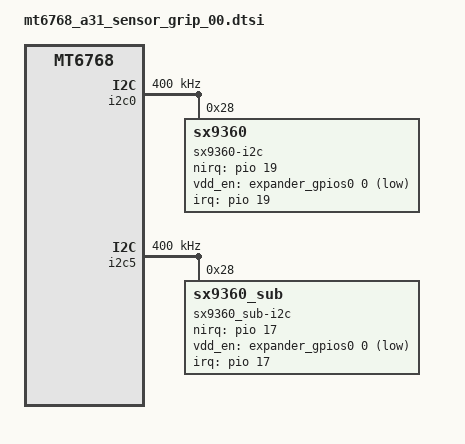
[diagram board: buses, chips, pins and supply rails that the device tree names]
/*
 * SAMSUNG board device tree source
 *
 * Copyright (c) 2019 Samsung Electronics Co., Ltd.
 *		http://www.samsung.com
 *
 * This program is free software; you can redistribute it and/or modify
 * it under the terms of the GNU General Public License version 2 as
 * published by the Free Software Foundation.
 */

&i2c0 {
	status = "okay";
	clock-frequency = <400000>;
	#address-cells = <1>;
	#size-cells = <0>;

	sx9360-i2c@28 {
		compatible = "sx9360";
		reg = <0x28>;
		status = "okay";

		pinctrl-names = "default";
		pinctrl-0 = <&grip_int>;
		interrupt-parent = <&pio>;
		interrupts = <19 0>;
		sx9360,nirq-gpio = <&pio 19 0>;

		sx9360,vdd_en = <&expander_gpios0 0 1>;
		sx9360,refresolution_reg = <0x0f>; /* same as resolution_reg */
		sx9360,refagainfreq_reg = <0x36>; /* same as againfreq_reg */
		sx9360,resolution_reg = <0x0f>; /* resolution : 1024 */
		sx9360,againfreq_reg = <0x18>; /* freq : 62.5 kHz, again : +/-2.25 pF */
		sx9360,refgainrawfilt_reg = <0x22>; /* same as gainrawfilt_reg */
		sx9360,gainrawfilt_reg = <0x22>; /* rawfilter : 1-1/4, gain : x8 */
		sx9360,hyst_reg = <0x15>; /* hysteresis : +/-6 %, debouncer : 2 samples */
		sx9360,proxthresh_reg = <0x2a>; /* threshhold : 882 */
		sx9360,hallic_detect = <1>;
		sx9360,hallic_cert_detect = <1>;
	};
};

&i2c5 {
	status = "okay";
	clock-frequency = <400000>;
	#address-cells = <1>;
	#size-cells = <0>;

	sx9360_sub-i2c@28 {
		compatible = "sx9360_sub";
		reg = <0x28>;
		status = "okay";
		pinctrl-names = "default";
		pinctrl-0 = <&grip_sub_int>;
		interrupt-parent = <&pio>;
		interrupts = <17 0>;
		sx9360_sub,nirq-gpio = <&pio 17 0>;

		sx9360_sub,vdd_en = <&expander_gpios0 0 1>;
		sx9360,refresolution_reg = <0x0f>; /* same as resolution_reg */
		sx9360,refagainfreq_reg = <0x36>; /* same as againfreq_reg */
		sx9360,resolution_reg = <0x0f>; /* resolution : 1024 */
		sx9360,againfreq_reg = <0x58>; /* freq : 62.5 kHz, again : +/-7.5 pF */
		sx9360,refgainrawfilt_reg = <0x22>; /* same as gainrawfilt_reg */
		sx9360,gainrawfilt_reg = <0x1A>; /* rawfilter : 1-1/4, gain : x4 */
		sx9360,hyst_reg = <0x15>; /* hysteresis : +/-6 %, debouncer : 2 samples */
		sx9360,proxthresh_reg = <0x23>; /* threshhold : 612 */
		sx9360_sub,hallic_detect = <1>;
		sx9360_sub,hallic_cert_detect = <1>;
	};
};

&pio {
	grip_int: grip-int {
		pins_cmd_dat {
			pinmux = <PINMUX_GPIO19__FUNC_GPIO19>;
			slew-rate = <0>;
			bias-disable;
		};
	};

	grip_sub_int: grip-sub-int {
		pins_cmd_dat {
			pinmux = <PINMUX_GPIO17__FUNC_GPIO17>;
			slew-rate = <0>;
			bias-disable;
		};
	};
};
